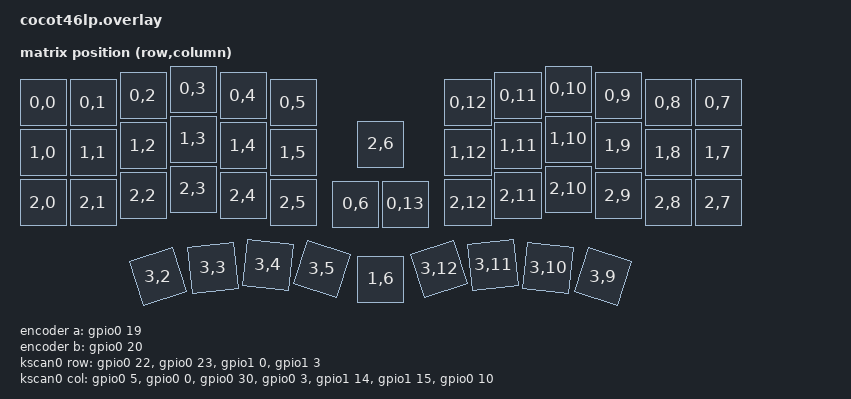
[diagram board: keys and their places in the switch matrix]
#include <dt-bindings/zmk/matrix_transform.h>
#include <dt-bindings/gpio/gpio.h>
/* Defines the zip_* input processor nodes (zip_xy_scaler etc.) */
#include <input/processors.dtsi>
/* Defines &key_physical_attrs for the physical layout (ZMK Studio) */
#include <physical_layouts.dtsi>
/* SCRL_UP / SCRL_DOWN and the &msc mouse-scroll behavior */
#include <dt-bindings/zmk/pointing.h>

/ {
	/*
	 * Rotary encoder rotation -> mouse wheel scroll. This is a SENSOR, not a
	 * key, so it works but is NOT editable in ZMK Studio (edit here in the
	 * file). CW = scroll up, CCW = scroll down.
	 */
	behaviors {
		scroll_encoder: scroll_encoder {
			compatible = "zmk,behavior-sensor-rotate";
			#sensor-binding-cells = <0>;
			bindings = <&msc SCRL_UP>, <&msc SCRL_DOWN>;
			/* hold the scroll press long enough for the mouse tick(s) to
			 * send wheel events (0ms and 50ms sent nothing). */
			tap-ms = <150>;
		};
	};

	/* EC11 rotary encoder between the thumb clusters. A/B on the QMK encoder
	 * pins: PIN7=P0.19, PIN8=P0.20 (per BMP pin assign). Not in the key
	 * matrix, so no conflict. */
	encoder: encoder {
		compatible = "alps,ec11";
		a-gpios = <&gpio0 19 (GPIO_ACTIVE_HIGH | GPIO_PULL_UP)>;
		b-gpios = <&gpio0 20 (GPIO_ACTIVE_HIGH | GPIO_PULL_UP)>;
		steps = <80>;
		status = "okay";
	};

	sensors: sensors {
		compatible = "zmk,keymap-sensors";
		sensors = <&encoder>;
		triggers-per-rotation = <20>;
	};

	chosen {
		zmk,kscan = &kscan0;
		/*
		 * NO zmk,matrix-transform here on purpose: ZMK Studio requires the
		 * transform to come from the selected physical layout's `transform`
		 * property, not a chosen. default_layout below references it.
		 */
		zmk,physical-layout = &default_layout;
		zmk,storage = &storage_partition;
	};

	/*
	 * Physical layout with per-key coordinates (1/100 keyunit) so ZMK Studio
	 * can render and remap the board. Order MUST match the keymap bindings
	 * and the transform map: row0 (12), row1 (12), row2 (6 left + 2 center +
	 * 6 right = 14), thumbs (4 left + 4 right = 8) => 46 keys. Coordinates are
	 * an approximate column-staggered cocot46lp shape (functional for Studio;
	 * refine later if desired).
	 */
	default_layout: default_layout {
		compatible = "zmk,physical-layout";
		display-name = "cocot46lp";
		transform = <&default_transform>;
		kscan = <&kscan0>;
		keys
			/* row 0 (left: gesc Q W E R T) */
			= <&key_physical_attrs 100 100    0   27 0 0 0>
			, <&key_physical_attrs 100 100  100   27 0 0 0>
			, <&key_physical_attrs 100 100  200   13 0 0 0>
			, <&key_physical_attrs 100 100  300    0 0 0 0>
			, <&key_physical_attrs 100 100  400   13 0 0 0>
			, <&key_physical_attrs 100 100  500   27 0 0 0>
			/* row 0 (right: Y U I O P GRAVE) */
			, <&key_physical_attrs 100 100  850   27 0 0 0>
			, <&key_physical_attrs 100 100  950   13 0 0 0>
			, <&key_physical_attrs 100 100 1050    0 0 0 0>
			, <&key_physical_attrs 100 100 1150   13 0 0 0>
			, <&key_physical_attrs 100 100 1250   27 0 0 0>
			, <&key_physical_attrs 100 100 1350   27 0 0 0>
			/* row 1 (left: LCTRL A S D F G) */
			, <&key_physical_attrs 100 100    0  127 0 0 0>
			, <&key_physical_attrs 100 100  100  127 0 0 0>
			, <&key_physical_attrs 100 100  200  113 0 0 0>
			, <&key_physical_attrs 100 100  300  100 0 0 0>
			, <&key_physical_attrs 100 100  400  113 0 0 0>
			, <&key_physical_attrs 100 100  500  127 0 0 0>
			/* row 1 (right: H J K L SEMI SQT) */
			, <&key_physical_attrs 100 100  850  127 0 0 0>
			, <&key_physical_attrs 100 100  950  113 0 0 0>
			, <&key_physical_attrs 100 100 1050  100 0 0 0>
			, <&key_physical_attrs 100 100 1150  113 0 0 0>
			, <&key_physical_attrs 100 100 1250  127 0 0 0>
			, <&key_physical_attrs 100 100 1350  127 0 0 0>
			/* row 2 (left: LALT Z X C V B) */
			, <&key_physical_attrs 100 100    0  227 0 0 0>
			, <&key_physical_attrs 100 100  100  227 0 0 0>
			, <&key_physical_attrs 100 100  200  213 0 0 0>
			, <&key_physical_attrs 100 100  300  200 0 0 0>
			, <&key_physical_attrs 100 100  400  213 0 0 0>
			, <&key_physical_attrs 100 100  500  227 0 0 0>
			/* trackball push-click RC(2,6) — GH center (upper) */
			, <&key_physical_attrs 100 100  675  110 0 0 0>
			/* backspace RC(0,13) — BN center, RIGHT of the pair */
			, <&key_physical_attrs 100 100  725  230 0 0 0>
			/* row 2 (right: N M COMMA DOT FSLH EQUAL) */
			, <&key_physical_attrs 100 100  850  227 0 0 0>
			, <&key_physical_attrs 100 100  950  213 0 0 0>
			, <&key_physical_attrs 100 100 1050  200 0 0 0>
			, <&key_physical_attrs 100 100 1150  213 0 0 0>
			, <&key_physical_attrs 100 100 1250  227 0 0 0>
			, <&key_physical_attrs 100 100 1350  227 0 0 0>
			/* thumbs left (RGUI, mo1, SPACE, TAB) — fanned */
			, <&key_physical_attrs 100 100  230  375 (-1800)  280  425>
			, <&key_physical_attrs 100 100  340  358  (-600)  390  408>
			, <&key_physical_attrs 100 100  450  352   (600)  500  402>
			, <&key_physical_attrs 100 100  558  360  (1800)  608  410>
			/* thumbs right (ENTER, SPACE, mo2, DEL) — fanned (mirror) */
			, <&key_physical_attrs 100 100  792  360 (-1800)  842  410>
			, <&key_physical_attrs 100 100  900  352  (-600)  950  402>
			, <&key_physical_attrs 100 100 1010  358   (600) 1060  408>
			, <&key_physical_attrs 100 100 1120  375  (1800) 1170  425>
			/* rotary-encoder push-click RC(1,6) (center, between thumbs) */
			, <&key_physical_attrs 100 100  675  380 0 0 0>
			/* left center key RC(0,6) — BN center, LEFT of backspace */
			, <&key_physical_attrs 100 100  625  230 0 0 0>
			;
	};

	/*
	 * Empirically derived from live row/col logging (two full deliberate
	 * key sweeps): the physical LEFT half of each row scans in phase1
	 * (device col 0-5, ascending = left-to-right), and the physical RIGHT
	 * half scans in phase2 but MIRRORED — device col 5 down to 0 (logical
	 * col 12 down to 7) reads left-to-right. Logical col 6 (phase1 c6) and
	 * col 13 (phase2 c6) are extra positions used only where a row needs
	 * more than 12 keys. The 4 real center switches, all found by keyscan log:
	 *   trackball click = RC(2,6), encoder push = RC(1,6),
	 *   left center key  = RC(0,6), backspace (right) = RC(0,13).
	 *
	 * fw92: the center BACKSPACE switch was found by live keyscan logging to
	 * fire at RC(0,13) (row0 phase2 col6), NOT RC(2,13). RC(2,13) is a phantom
	 * (no physical switch — ZMK logged "Not found in transform" for RC(0,13)
	 * while the old bksp binding sat on the dead RC(2,13)). Map the real switch.
	 */
	default_transform: keymap_transform_0 {
		compatible = "zmk,matrix-transform";
		columns = <14>;
		rows = <4>;
		map = <
			RC(0,0) RC(0,1) RC(0,2) RC(0,3) RC(0,4) RC(0,5)                 RC(0,12) RC(0,11) RC(0,10) RC(0,9) RC(0,8) RC(0,7)
			RC(1,0) RC(1,1) RC(1,2) RC(1,3) RC(1,4) RC(1,5)                 RC(1,12) RC(1,11) RC(1,10) RC(1,9) RC(1,8) RC(1,7)
			RC(2,0) RC(2,1) RC(2,2) RC(2,3) RC(2,4) RC(2,5) RC(2,6) RC(0,13) RC(2,12) RC(2,11) RC(2,10) RC(2,9) RC(2,8) RC(2,7)
			                RC(3,2) RC(3,3) RC(3,4) RC(3,5)                 RC(3,12) RC(3,11) RC(3,10) RC(3,9)
			RC(1,6)
			RC(0,6)
		>;
	};

	kscan0: kscan0 {
		compatible = "zmk,kscan-gpio-duplex-matrix";
		poll-period-ms = <10>;

		/*
		 * CONFIG.JSN row_pins/col_pins use BMP silkscreen "PINn" labels,
		 * NOT raw nRF52 P0.n numbers. Translated via the official BMP
		 * pin assign diagram (sekigon-gonnoc/BLE-Micro-Pro "pin assign.jpg"):
		 *   PIN9=P0.22  PIN10=P0.23 PIN11=P1.00 PIN12=P1.03
		 *   PIN20=P0.05 PIN19=P0.00 PIN18=P0.30 PIN17=P0.03
		 *   PIN16=P1.14 PIN15=P1.15 PIN14=P0.10
		 */
		row-gpios
			= <&gpio0 22 0>
			, <&gpio0 23 0>
			, <&gpio1 0  0>
			, <&gpio1 3  0>
			;
		col-gpios
			= <&gpio0 5  0>
			, <&gpio0 0  0>
			, <&gpio0 30 0>
			, <&gpio0 3  0>
			, <&gpio1 14 0>
			, <&gpio1 15 0>
			, <&gpio0 10 0>
			;
	};

	/*
	 * AZ1UBALL trackball -> ZMK pointing. The listener forwards the
	 * driver's relative X/Y (and click) into ZMK's input pipeline.
	 *
	 * The raw counts are tiny, so scale them up. zip_xy_scaler <mul div>
	 * multiplies movement by mul/div; 6/1 is a good starting speed
	 * (raise mul for faster, lower for slower).
	 */
	trackball_input_listener {
		compatible = "zmk,input-listener";
		device = <&trackball>;
		input-processors = <&zip_xy_scaler 6 1>;
	};
};

/*
 * AZ1UBALL (PIM447-compatible I2C trackball, addr 0x0A).
 *
 * cocot46lp routes the trackball to the Pro Micro hardware-I2C position
 * (labels 2/3). On the BMP those positions are PIN5/PIN6, which per the
 * official "pin assign.jpg" are the ONLY pins with I2C level shifters:
 *   SDA = PIN5 = P0.18
 *   SCL = PIN6 = P0.16
 */
/*
 * fw76: use TWIM1 (i2c1) instead of TWIM0 (i2c0). Merely enabling i2c0 with
 * BLE=y hangs the boot pre-USB (fw74/75 proved it: no transfers, no driver,
 * sleep on or off — dead either way; fw70/71 without TWIM were fine). TWIM0
 * likely collides with the BLE controller over a shared resource (IRQ/PPI/
 * anomaly workaround). nRF pins are freely mappable, so the SAME physical
 * pins (SDA=P0.18, SCL=P0.16) move to the TWIM1 instance.
 */
&pinctrl {
	i2c1_default: i2c1_default {
		group1 {
			psels = <NRF_PSEL(TWIM_SDA, 0, 18)>,
			        <NRF_PSEL(TWIM_SCL, 0, 16)>;
		};
	};

	i2c1_sleep: i2c1_sleep {
		group1 {
			psels = <NRF_PSEL(TWIM_SDA, 0, 18)>,
			        <NRF_PSEL(TWIM_SCL, 0, 16)>;
			low-power-enable;
		};
	};
};

&i2c1 {
	compatible = "nordic,nrf-twim";
	status = "okay";
	pinctrl-0 = <&i2c1_default>;
	pinctrl-1 = <&i2c1_sleep>;
	pinctrl-names = "default", "sleep";

	trackball: trackball@a {
		compatible = "palette,az1uball";
		reg = <0x0A>;
	};
};
